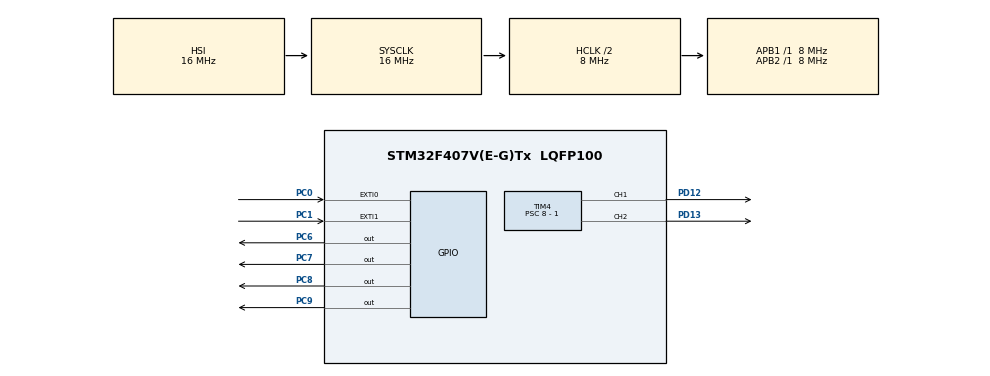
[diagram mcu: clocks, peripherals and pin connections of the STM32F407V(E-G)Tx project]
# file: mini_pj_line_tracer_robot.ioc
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Mcu.Family=STM32F4
Mcu.Name=STM32F407V(E-G)Tx
Mcu.Package=LQFP100
NVIC.EXTI0_IRQn=true\:0\:0\:false\:true\:true\:1\:true\:true\:true
NVIC.EXTI1_IRQn=true\:0\:0\:false\:true\:true\:2\:true\:true\:true
NVIC.PriorityGroup=NVIC_PRIORITYGROUP_4
PC0.GPIO_ModeDefaultEXTI=GPIO_MODE_IT_RISING
PC0.Signal=GPXTI0
PC1.GPIO_ModeDefaultEXTI=GPIO_MODE_IT_RISING
PC1.Signal=GPXTI1
PC6.Signal=GPIO_Output
PC7.Signal=GPIO_Output
PC8.Signal=GPIO_Output
PC9.Signal=GPIO_Output
PD12.Signal=S_TIM4_CH1
PD13.Signal=S_TIM4_CH2
ProjectManager.HeapSize=0x200
ProjectManager.StackSize=0x400
ProjectManager.TargetToolchain=STM32CubeIDE
RCC.AHBCLKDivider=RCC_SYSCLK_DIV2
RCC.AHBFreq_Value=8000000
RCC.APB1Freq_Value=8000000
RCC.APB1TimFreq_Value=8000000
RCC.APB2Freq_Value=8000000
RCC.APB2TimFreq_Value=8000000
RCC.CortexFreq_Value=8000000
RCC.HCLKFreq_Value=8000000
RCC.HSE_VALUE=25000000
RCC.HSI_VALUE=16000000
RCC.LSE_VALUE=32768
RCC.SYSCLKFreq_VALUE=16000000
RCC.VCOOutputFreq_Value=192000000
SH.S_TIM4_CH1.0=TIM4_CH1,PWM Generation1 CH1
SH.S_TIM4_CH2.0=TIM4_CH2,PWM Generation2 CH2
TIM4.AutoReloadPreload=TIM_AUTORELOAD_PRELOAD_ENABLE
TIM4.Channel-PWM\ Generation1\ CH1=TIM_CHANNEL_1
TIM4.Channel-PWM\ Generation2\ CH2=TIM_CHANNEL_2
TIM4.Period=1000 - 1
TIM4.Prescaler=8 - 1
VP_TIM4_VS_ClockSourceINT.Mode=Internal
board=custom

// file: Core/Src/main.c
/* USER CODE BEGIN Header */
/**
 ******************************************************************************
 * @file           : main.c
 * @brief          : Main program body
 ******************************************************************************
 * @attention
 *
 * Copyright (c) 2025 STMicroelectronics.
 * All rights reserved.
 *
 * This software is licensed under terms that can be found in the LICENSE file
 * in the root directory of this software component.
 * If no LICENSE file comes with this software, it is provided AS-IS.
 *
 ******************************************************************************
 */
/* USER CODE END Header */
#include "main.h"

TIM_HandleTypeDef htim4;

/* USER CODE BEGIN PV */
uint8_t motor_1_speed = 0;
uint8_t motor_2_speed = 0;

/* USER CODE END PV */

void SystemClock_Config(void);
static void MX_GPIO_Init(void);
static void MX_TIM4_Init(void);
static void MX_NVIC_Init(void);

int main(void)
{

  /* MCU Configuration--------------------------------------------------------*/

  /* Reset of all peripherals, Initializes the Flash interface and the Systick. */
  HAL_Init();

  /* Configure the system clock */
  SystemClock_Config();

  /* Initialize all configured peripherals */
  MX_GPIO_Init();
  MX_TIM4_Init();

  /* Initialize interrupts */
  MX_NVIC_Init();
  /* USER CODE BEGIN 2 */
	StartMotorPWM();
	SetDirection(0, 1);
	SetDirection(1, 1);

  /* USER CODE END 2 */

  /* Infinite loop */
  /* USER CODE BEGIN WHILE */
	while (1) {
		SetMotorSpeed(0,motor_1_speed);
		SetMotorSpeed(1,motor_2_speed);
    /* USER CODE END WHILE */

	}
}

void SystemClock_Config(void)
{
  RCC_OscInitTypeDef RCC_OscInitStruct = {0};
  RCC_ClkInitTypeDef RCC_ClkInitStruct = {0};

  /** Configure the main internal regulator output voltage
  */
  __HAL_RCC_PWR_CLK_ENABLE();
  __HAL_PWR_VOLTAGESCALING_CONFIG(PWR_REGULATOR_VOLTAGE_SCALE1);

  /** Initializes the RCC Oscillators according to the specified parameters
  * in the RCC_OscInitTypeDef structure.
  */
  RCC_OscInitStruct.OscillatorType = RCC_OSCILLATORTYPE_HSI;
  RCC_OscInitStruct.HSIState = RCC_HSI_ON;
  RCC_OscInitStruct.HSICalibrationValue = RCC_HSICALIBRATION_DEFAULT;
  RCC_OscInitStruct.PLL.PLLState = RCC_PLL_NONE;
  if (HAL_RCC_OscConfig(&RCC_OscInitStruct) != HAL_OK)
  {
    Error_Handler();
  }

  /** Initializes the CPU, AHB and APB buses clocks
  */
  RCC_ClkInitStruct.ClockType = RCC_CLOCKTYPE_HCLK|RCC_CLOCKTYPE_SYSCLK
                              |RCC_CLOCKTYPE_PCLK1|RCC_CLOCKTYPE_PCLK2;
  RCC_ClkInitStruct.SYSCLKSource = RCC_SYSCLKSOURCE_HSI;
  RCC_ClkInitStruct.AHBCLKDivider = RCC_SYSCLK_DIV2;
  RCC_ClkInitStruct.APB1CLKDivider = RCC_HCLK_DIV1;
  RCC_ClkInitStruct.APB2CLKDivider = RCC_HCLK_DIV1;

  if (HAL_RCC_ClockConfig(&RCC_ClkInitStruct, FLASH_LATENCY_0) != HAL_OK)
  {
    Error_Handler();
  }
}

/**
  * @brief NVIC Configuration.
  * @retval None
  */
static void MX_NVIC_Init(void)
{
  /* EXTI0_IRQn interrupt configuration */
  HAL_NVIC_SetPriority(EXTI0_IRQn, 0, 0);
  HAL_NVIC_EnableIRQ(EXTI0_IRQn);
  /* EXTI1_IRQn interrupt configuration */
  HAL_NVIC_SetPriority(EXTI1_IRQn, 0, 0);
  HAL_NVIC_EnableIRQ(EXTI1_IRQn);
}

static void MX_TIM4_Init(void)
{

  TIM_ClockConfigTypeDef sClockSourceConfig = {0};
  TIM_MasterConfigTypeDef sMasterConfig = {0};
  TIM_OC_InitTypeDef sConfigOC = {0};

  htim4.Instance = TIM4;
  htim4.Init.Prescaler = 8 - 1;
  htim4.Init.CounterMode = TIM_COUNTERMODE_UP;
  htim4.Init.Period = 1000 - 1;
  htim4.Init.ClockDivision = TIM_CLOCKDIVISION_DIV1;
  htim4.Init.AutoReloadPreload = TIM_AUTORELOAD_PRELOAD_ENABLE;
  if (HAL_TIM_Base_Init(&htim4) != HAL_OK)
  {
    Error_Handler();
  }
  sClockSourceConfig.ClockSource = TIM_CLOCKSOURCE_INTERNAL;
  if (HAL_TIM_ConfigClockSource(&htim4, &sClockSourceConfig) != HAL_OK)
  {
    Error_Handler();
  }
  if (HAL_TIM_PWM_Init(&htim4) != HAL_OK)
  {
    Error_Handler();
  }
  sMasterConfig.MasterOutputTrigger = TIM_TRGO_RESET;
  sMasterConfig.MasterSlaveMode = TIM_MASTERSLAVEMODE_DISABLE;
  if (HAL_TIMEx_MasterConfigSynchronization(&htim4, &sMasterConfig) != HAL_OK)
  {
    Error_Handler();
  }
  sConfigOC.OCMode = TIM_OCMODE_PWM1;
  sConfigOC.Pulse = 0;
  sConfigOC.OCPolarity = TIM_OCPOLARITY_HIGH;
  sConfigOC.OCFastMode = TIM_OCFAST_DISABLE;
  if (HAL_TIM_PWM_ConfigChannel(&htim4, &sConfigOC, TIM_CHANNEL_1) != HAL_OK)
  {
    Error_Handler();
  }
  if (HAL_TIM_PWM_ConfigChannel(&htim4, &sConfigOC, TIM_CHANNEL_2) != HAL_OK)
  {
    Error_Handler();
  }
  HAL_TIM_MspPostInit(&htim4);

}

static void MX_GPIO_Init(void)
{
  GPIO_InitTypeDef GPIO_InitStruct = {0};

  /* GPIO Ports Clock Enable */
  __HAL_RCC_GPIOC_CLK_ENABLE();
  __HAL_RCC_GPIOD_CLK_ENABLE();

  /*Configure GPIO pin Output Level */
  HAL_GPIO_WritePin(GPIOC, GPIO_PIN_6|GPIO_PIN_7|GPIO_PIN_8|GPIO_PIN_9, GPIO_PIN_RESET);

  /*Configure GPIO pins : PC0 PC1 */
  GPIO_InitStruct.Pin = GPIO_PIN_0|GPIO_PIN_1;
  GPIO_InitStruct.Mode = GPIO_MODE_IT_RISING;
  GPIO_InitStruct.Pull = GPIO_NOPULL;
  HAL_GPIO_Init(GPIOC, &GPIO_InitStruct);

  /*Configure GPIO pins : PC6 PC7 PC8 PC9 */
  GPIO_InitStruct.Pin = GPIO_PIN_6|GPIO_PIN_7|GPIO_PIN_8|GPIO_PIN_9;
  GPIO_InitStruct.Mode = GPIO_MODE_OUTPUT_PP;
  GPIO_InitStruct.Pull = GPIO_NOPULL;
  GPIO_InitStruct.Speed = GPIO_SPEED_FREQ_LOW;
  HAL_GPIO_Init(GPIOC, &GPIO_InitStruct);

}

/* USER CODE BEGIN 4 */
/*
 * Channel 1 = left motor
 * Channel 2 = right motor
 */
void StartMotorPWM() {
	HAL_TIM_PWM_Start(&htim4, TIM_CHANNEL_1);
	HAL_TIM_PWM_Start(&htim4, TIM_CHANNEL_2);
}

void SetMotorSpeed(uint8_t motor, uint8_t duty) {
	__HAL_TIM_SET_COMPARE(&htim4, motor == 0 ? TIM_CHANNEL_1 : TIM_CHANNEL_2,
			duty * 10);
}
/*
 * left - motor 1
 * right - motor 2
 * left gpio pc6, pc7
 * right gpio pc8, pc9
 */
void SetDirection(uint8_t motor, uint8_t dir) {
	if (motor == 0) {
		HAL_GPIO_WritePin(GPIOC, GPIO_PIN_6,
				dir == 1 ? GPIO_PIN_SET : GPIO_PIN_RESET);
		HAL_GPIO_WritePin(GPIOC, GPIO_PIN_7,
				dir == 1 ? GPIO_PIN_RESET : GPIO_PIN_SET);
	} else {
		HAL_GPIO_WritePin(GPIOC, GPIO_PIN_8,
				dir == 1 ? GPIO_PIN_SET : GPIO_PIN_RESET);
		HAL_GPIO_WritePin(GPIOC, GPIO_PIN_9,
				dir == 1 ? GPIO_PIN_RESET : GPIO_PIN_SET);
	}
}

void MotorStop(uint8_t motor) {
	if (motor == 0) {
		HAL_GPIO_WritePin(GPIOC, GPIO_PIN_6, GPIO_PIN_RESET);
		HAL_GPIO_WritePin(GPIOC, GPIO_PIN_7, GPIO_PIN_RESET);
	} else {
		HAL_GPIO_WritePin(GPIOC, GPIO_PIN_8, GPIO_PIN_RESET);
		HAL_GPIO_WritePin(GPIOC, GPIO_PIN_9, GPIO_PIN_RESET);
	}
}

void HAL_GPIO_EXTI_Callback(uint16_t GPIO_Pin) {
	if (GPIO_Pin == GPIO_PIN_0) {
		if (HAL_GPIO_ReadPin(GPIOC,GPIO_PIN_0) == GPIO_PIN_RESET) {
			motor_1_speed = 60;
		} else {
			motor_1_speed = 0;
		}
	} else if (GPIO_Pin == GPIO_PIN_1) {
		if (HAL_GPIO_ReadPin(GPIOC,GPIO_PIN_1) == GPIO_PIN_RESET) {
			motor_2_speed = 60;
		} else {
			motor_2_speed = 0;
		}
	}
}
/* USER CODE END 4 */

void Error_Handler(void)
{
	__disable_irq();
	while (1) {
	}
}
